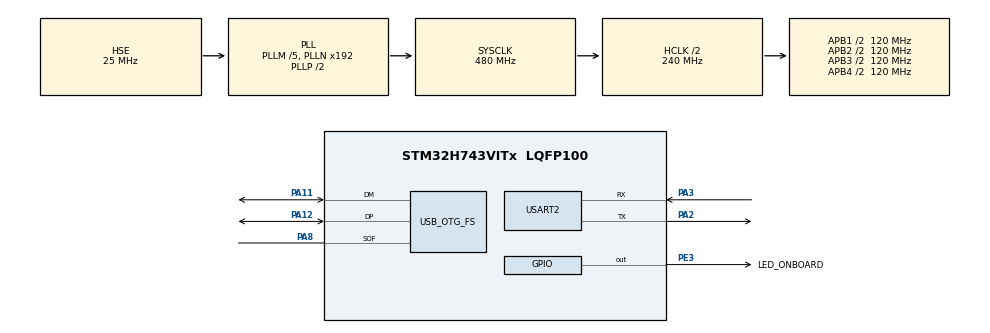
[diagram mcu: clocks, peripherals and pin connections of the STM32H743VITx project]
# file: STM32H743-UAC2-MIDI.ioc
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CORTEX_M7.CPU_DCache=Enabled
CORTEX_M7.CPU_ICache=Enabled
CORTEX_M7.default_mode_Activation=1
Mcu.Family=STM32H7
Mcu.Name=STM32H743VITx
Mcu.Package=LQFP100
NVIC.OTG_FS_IRQn=true\:0\:0\:false\:false\:true\:true\:true\:true
NVIC.PriorityGroup=NVIC_PRIORITYGROUP_4
NVIC.USART2_IRQn=true\:0\:0\:false\:false\:true\:true\:true\:true
PA11.Mode=Device_Only
PA11.Signal=USB_OTG_FS_DM
PA12.Mode=Device_Only
PA12.Signal=USB_OTG_FS_DP
PA13\ (JTMS/SWDIO).Mode=Trace_Asynchronous_SW
PA13\ (JTMS/SWDIO).Signal=DEBUG_JTMS-SWDIO
PA14\ (JTCK/SWCLK).Mode=Trace_Asynchronous_SW
PA14\ (JTCK/SWCLK).Signal=DEBUG_JTCK-SWCLK
PA2.Mode=Asynchronous
PA2.Signal=USART2_TX
PA3.Mode=Asynchronous
PA3.Signal=USART2_RX
PA8.Mode=Activate_SOF_FS
PA8.Signal=USB_OTG_FS_SOF
PB3\ (JTDO/TRACESWO).Mode=Trace_Asynchronous_SW
PB3\ (JTDO/TRACESWO).Signal=DEBUG_JTDO-SWO
PC14-OSC32_IN\ (OSC32_IN).Mode=LSE-External-Oscillator
PC14-OSC32_IN\ (OSC32_IN).Signal=RCC_OSC32_IN
PC15-OSC32_OUT\ (OSC32_OUT).Mode=LSE-External-Oscillator
PC15-OSC32_OUT\ (OSC32_OUT).Signal=RCC_OSC32_OUT
PE3.GPIO_Label=LED_ONBOARD
PE3.Signal=GPIO_Output
PH0-OSC_IN\ (PH0).Mode=HSE-External-Oscillator
PH0-OSC_IN\ (PH0).Signal=RCC_OSC_IN
PH1-OSC_OUT\ (PH1).Mode=HSE-External-Oscillator
PH1-OSC_OUT\ (PH1).Signal=RCC_OSC_OUT
ProjectManager.HeapSize=0x200
ProjectManager.StackSize=0x800
ProjectManager.TargetToolchain=STM32CubeIDE
RCC.ADCFreq_Value=50390625
RCC.APB1Freq_Value=120000000
RCC.APB2Freq_Value=120000000
RCC.APB3Freq_Value=120000000
RCC.APB4Freq_Value=120000000
RCC.CortexFreq_Value=480000000
RCC.D1PPRE=RCC_APB3_DIV2
RCC.D2PPRE1=RCC_APB1_DIV2
RCC.D2PPRE2=RCC_APB2_DIV2
RCC.D3PPRE=RCC_APB4_DIV2
RCC.DIVM1=5
RCC.DIVM3=25
RCC.DIVN1=192
RCC.DIVN3=192
RCC.DIVQ1=20
RCC.DIVQ3=4
RCC.HCLKFreq_Value=240000000
RCC.HPRE=RCC_HCLK_DIV2
RCC.PLL2FRACN=0
RCC.PLL3FRACN=0
RCC.PLLFRACN=0
RCC.SYSCLKFreq_VALUE=480000000
RCC.SYSCLKSource=RCC_SYSCLKSOURCE_PLLCLK
RCC.USBFreq_Value=48000000
USART2.VirtualMode-Asynchronous=VM_ASYNC
USB_OTG_FS.VirtualMode=Device_Only
VP_MEMORYMAP_VS_MEMORYMAP.Mode=CurAppReg
board=custom

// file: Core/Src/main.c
/* USER CODE BEGIN Header */
/**
  ******************************************************************************
  * @file           : main.c
  * @brief          : Main program body
  ******************************************************************************
  * @attention
  *
  * Copyright (c) 2026 STMicroelectronics.
  * All rights reserved.
  *
  * This software is licensed under terms that can be found in the LICENSE file
  * in the root directory of this software component.
  * If no LICENSE file comes with this software, it is provided AS-IS.
  *
  ******************************************************************************
  */
/* USER CODE END Header */
#include "main.h"
#include "usart.h"
#include "usb_otg.h"
#include "gpio.h"

/* USER CODE BEGIN Includes */
#include <stdint.h>
#include <stdio.h>
#include "tusb.h"
#include "midi.h"
#include "audio_cb.h"

/* USER CODE END Includes */

/* USER CODE BEGIN PD */
#define AUDIO_BUFFER_SIZE 	48 * CFG_TUD_AUDIO_FUNC_1_N_CHANNELS_TX//CFG_TUD_AUDIO_FUNC_1_SAMPLE_RATE / 1000 * CFG_TUD_AUDIO_FUNC_1_N_BYTES_PER_SAMPLE_TX * CFG_TUD_AUDIO_FUNC_1_N_CHANNELS_TX
/* USER CODE END PD */

/* USER CODE BEGIN PV */

/* Blink pattern
 * - 250 ms  : device not mounted
 * - 1000 ms : device mounted
 * - 2500 ms : device is suspended
 */
enum {
  BLINK_NOT_MOUNTED = 250,
  BLINK_MOUNTED = 1000,
  BLINK_SUSPENDED = 2500,
  BLINK_MIDI_CC = 50
};

static uint32_t blink_interval_ms = BLINK_NOT_MOUNTED;

uint8_t midi_rx_flag = 0;

MIDI_MsgUnion_typedef midi_rx_msg;

// Audio test data (the buffer should be located in a portion of a RAM
// that the USB device can access (check linker script).
__attribute__((section(".usb_ram")))
__attribute__((aligned(4)))
#if CFG_TUD_AUDIO_FUNC_1_N_BYTES_PER_SAMPLE_TX == 2
int16_t audio_buffer[AUDIO_BUFFER_SIZE];
#elif CFG_TUD_AUDIO_FUNC_1_N_BYTES_PER_SAMPLE_TX == 3
uint8_t audio_buffer[AUDIO_BUFFER_SIZE * CFG_TUD_AUDIO_FUNC_1_N_BYTES_PER_SAMPLE_TX];
#elif CFG_TUD_AUDIO_FUNC_1_N_BYTES_PER_SAMPLE_TX == 4
int32_t audio_buffer[AUDIO_BUFFER_SIZE];
#endif

volatile uint32_t system_ticks = 0;

#include <math.h>

#define FREQ        1000
#define AMPLITUDE   0.5

static float phase = 0.0f;
static float phase_inc = 2.0f * 3.1415926f * FREQ / CFG_TUD_AUDIO_FUNC_1_SAMPLE_RATE;
/* USER CODE END PV */

void SystemClock_Config(void);
static void MPU_Config(void);
/* USER CODE BEGIN PFP */
void MPU_Config_USB_D2_SRAM(void);
void led_blinking_task(void);
void audio_task(void);
/* USER CODE END PFP */

int main(void)
{

  /* MPU Configuration--------------------------------------------------------*/
  MPU_Config();

  /* Enable the CPU Cache */

  /* Enable I-Cache---------------------------------------------------------*/
  SCB_EnableICache();

  /* Enable D-Cache---------------------------------------------------------*/
  SCB_EnableDCache();

  /* MCU Configuration--------------------------------------------------------*/

  /* Reset of all peripherals, Initializes the Flash interface and the Systick. */
  HAL_Init();

  /* USER CODE BEGIN Init */
  MPU_Config_USB_D2_SRAM();
  //SCB_DisableDCache();
  //SCB_DisableICache();
  /* USER CODE END Init */

  /* Configure the system clock */
  SystemClock_Config();

  /* Initialize all configured peripherals */
  MX_GPIO_Init();
  MX_USB_OTG_FS_PCD_Init();
  MX_USART2_UART_Init();
  /* USER CODE BEGIN 2 */

  //Init Tiny USB device stack on configured roothub port:
  tusb_rhport_init_t dev_init = {
      .role = TUSB_ROLE_DEVICE,
      .speed = TUSB_SPEED_FULL};
  SCB_CleanInvalidateDCache();
  tusb_init(BOARD_TUD_RHPORT, &dev_init);

  // Init values for UAC2 example callbacks:
  audio_init();
  printf("Moreto STM32H743 TinyUSB Audio and MIDI example\r\n");
  /* USER CODE END 2 */

  /* Infinite loop */
  /* USER CODE BEGIN WHILE */
  while (1)
  {
	  tud_task();// tinyusb device task
	  audio_task();
	  led_blinking_task();

	  if (midi_rx_flag){ // MIDI message received
		  // Read the 4 byte packet and store it in the union array:
		  tud_midi_n_packet_read(0, midi_rx_msg.array);
		  printf("Midi message. CIN: %#04x Cable: %#04x Channel: %#04x Type: %#04x  "
				  "Data1: %#04x  Data2: %#04x\r\n", midi_rx_msg.fields.CIN, midi_rx_msg.fields.cable,
				  midi_rx_msg.fields.channel, midi_rx_msg.fields.type, midi_rx_msg.fields.data1,
				  midi_rx_msg.fields.data2);
		  if (midi_rx_msg.fields.type == CC){
			  if(midi_rx_msg.fields.data1 == MIDI_CC_TEST){
				  if (midi_rx_msg.fields.data2 > 63){
					  blink_interval_ms = BLINK_MIDI_CC;
				  }else{
					  blink_interval_ms = BLINK_MOUNTED;
				  }
			  } // if data1 = MIDI_CC_TEST
		  } // if type = CC
		  midi_rx_flag = 0;
	  }

    /* USER CODE END WHILE */

  }
}

void SystemClock_Config(void)
{
  RCC_OscInitTypeDef RCC_OscInitStruct = {0};
  RCC_ClkInitTypeDef RCC_ClkInitStruct = {0};

  /** Supply configuration update enable
  */
  HAL_PWREx_ConfigSupply(PWR_LDO_SUPPLY);

  /** Configure the main internal regulator output voltage
  */
  __HAL_PWR_VOLTAGESCALING_CONFIG(PWR_REGULATOR_VOLTAGE_SCALE0);

  while(!__HAL_PWR_GET_FLAG(PWR_FLAG_VOSRDY)) {}

  /** Initializes the RCC Oscillators according to the specified parameters
  * in the RCC_OscInitTypeDef structure.
  */
  RCC_OscInitStruct.OscillatorType = RCC_OSCILLATORTYPE_HSE;
  RCC_OscInitStruct.HSEState = RCC_HSE_ON;
  RCC_OscInitStruct.PLL.PLLState = RCC_PLL_ON;
  RCC_OscInitStruct.PLL.PLLSource = RCC_PLLSOURCE_HSE;
  RCC_OscInitStruct.PLL.PLLM = 5;
  RCC_OscInitStruct.PLL.PLLN = 192;
  RCC_OscInitStruct.PLL.PLLP = 2;
  RCC_OscInitStruct.PLL.PLLQ = 20;
  RCC_OscInitStruct.PLL.PLLR = 2;
  RCC_OscInitStruct.PLL.PLLRGE = RCC_PLL1VCIRANGE_2;
  RCC_OscInitStruct.PLL.PLLVCOSEL = RCC_PLL1VCOWIDE;
  RCC_OscInitStruct.PLL.PLLFRACN = 0;
  if (HAL_RCC_OscConfig(&RCC_OscInitStruct) != HAL_OK)
  {
    Error_Handler();
  }

  /** Initializes the CPU, AHB and APB buses clocks
  */
  RCC_ClkInitStruct.ClockType = RCC_CLOCKTYPE_HCLK|RCC_CLOCKTYPE_SYSCLK
                              |RCC_CLOCKTYPE_PCLK1|RCC_CLOCKTYPE_PCLK2
                              |RCC_CLOCKTYPE_D3PCLK1|RCC_CLOCKTYPE_D1PCLK1;
  RCC_ClkInitStruct.SYSCLKSource = RCC_SYSCLKSOURCE_PLLCLK;
  RCC_ClkInitStruct.SYSCLKDivider = RCC_SYSCLK_DIV1;
  RCC_ClkInitStruct.AHBCLKDivider = RCC_HCLK_DIV2;
  RCC_ClkInitStruct.APB3CLKDivider = RCC_APB3_DIV2;
  RCC_ClkInitStruct.APB1CLKDivider = RCC_APB1_DIV2;
  RCC_ClkInitStruct.APB2CLKDivider = RCC_APB2_DIV2;
  RCC_ClkInitStruct.APB4CLKDivider = RCC_APB4_DIV2;

  if (HAL_RCC_ClockConfig(&RCC_ClkInitStruct, FLASH_LATENCY_4) != HAL_OK)
  {
    Error_Handler();
  }
}

/* USER CODE BEGIN 4 */

int __io_putchar(int ch) {
    // Send character using ITM (SWO)
    // Port 0 is used by default.
    ITM_SendChar(ch);
    return ch;
}

int _write(int file, char *ptr, int len) {
    int DataIdx;
    for (DataIdx = 0; DataIdx < len; DataIdx++) {
        __io_putchar(*ptr++);
    }
    return len;
}

// Invoked when device is mounted
void tud_mount_cb(void) {
  blink_interval_ms = BLINK_MOUNTED;
}

// Invoked when device is unmounted
void tud_umount_cb(void) {
  blink_interval_ms = BLINK_NOT_MOUNTED;
}

// Invoked when usb bus is suspended
// remote_wakeup_en : if host allow us  to perform remote wakeup
// Within 7ms, device must draw an average of current less than 2.5 mA from bus
void tud_suspend_cb(bool remote_wakeup_en) {
  (void) remote_wakeup_en;
  blink_interval_ms = BLINK_SUSPENDED;
}

// Invoked when usb bus is resumed
void tud_resume_cb(void) {
  blink_interval_ms = tud_mounted() ? BLINK_MOUNTED : BLINK_NOT_MOUNTED;
}

// Fills the buffer every ms with a sinusoidal signal.
void audio_task(void)
{
  // The audio_streaming_flag is updated in audio_cb.h when the activates the
  // streaming interface.
  if (!audio_is_streaming())
	  // Interface not active, return.
      return;

  static uint32_t start_ms = 0;
  uint32_t curr_ms = tusb_time_millis_api();

  if (start_ms == curr_ms) {
    return;
  }
  start_ms = curr_ms;
  static int32_t s = 0;

  // Fill the buffer with a sine wave:
  for (size_t i = 0; i < AUDIO_BUFFER_SIZE/2; i++) {

#if CFG_TUD_AUDIO_FUNC_1_N_BYTES_PER_SAMPLE_TX == 2
	s = ((AMPLITUDE * sinf(phase))* 32767.0f);
	// Left:
	audio_buffer[2*i] = (int16_t)s;
	// Right:
	audio_buffer[2*i+1] = (int16_t)s;
#elif CFG_TUD_AUDIO_FUNC_1_N_BYTES_PER_SAMPLE_TX == 3
	// For 24bits in 4 bytes, the packing needs to be done manually.
	s = (int32_t)((AMPLITUDE * sinf(phase))* 8388607.0f);
    // LEFT
    audio_buffer[6*i + 0] = (uint8_t)(s & 0xFF);
    audio_buffer[6*i + 1] = (uint8_t)((s >> 8) & 0xFF);
    audio_buffer[6*i + 2] = (uint8_t)((s >> 16) & 0xFF);
    // RIGHT
    audio_buffer[6*i + 3] = (uint8_t)(s & 0xFF);
    audio_buffer[6*i + 4] = (uint8_t)((s >> 8) & 0xFF);
    audio_buffer[6*i + 5] = (uint8_t)((s >> 16) & 0xFF);
#elif CFG_TUD_AUDIO_FUNC_1_N_BYTES_PER_SAMPLE_TX == 4
    s = (int32_t)((AMPLITUDE * sinf(phase)) * 8388607.0f);
    s <<= 8; // The USB Host uses the 3 most significant bytes.
    // Left:
    audio_buffer[2*i] = s;
    // Right:
    audio_buffer[2*i+1] = s;
#endif
    phase += phase_inc;

    if (phase > 2.0f * 3.1415926f) {
      phase -= 2.0f * 3.1415926f;
    }
  } // for
  // Writes AUDIO_BUFFER_SIZE samples:
  tud_audio_write((uint8_t *) audio_buffer, sizeof(audio_buffer));// AUDIO_BUFFER_SIZE * CFG_TUD_AUDIO_FUNC_1_N_BYTES_PER_SAMPLE_TX);
}

/*
 * Function called when there is a MIDI packet to receive.
 *
 */
void tud_midi_rx_cb(uint8_t itf){
	midi_rx_flag = 1;
}

//--------------------------------------------------------------------+
// BLINKING TASK
//--------------------------------------------------------------------+
void led_blinking_task(void) {
  static uint32_t start_ms = 0;
  static bool led_state = false;

  // Blink every interval ms
  if (tusb_time_millis_api() - start_ms < blink_interval_ms) {
    return; // not enough time
  }
  start_ms += blink_interval_ms;

  HAL_GPIO_WritePin(LED_ONBOARD_GPIO_Port, LED_ONBOARD_Pin, led_state);
  //board_led_write(led_state);
  led_state = 1 - led_state;// toggle
}

#if 0 // Not used for now, but may be useful.
/* Timer interrupt callback */
void HAL_TIM_PeriodElapsedCallback(TIM_HandleTypeDef *htim){
	if (htim->Instance == TIM11){
		flag_tim11 = 1;
	} // if htim->Instance == TIM11
}
#endif
#if 0
/**
  * @brief Rx Transfer completed callbacks
  * @param huart: uart handle
  * @retval None
  */
void HAL_UART_RxCpltCallback(UART_HandleTypeDef *huart)
{
	if(huart->Instance==USART2)
	{
		usart_received_done_flag = 1;
	}
    //HAL_UART_Transmit(&huart1,  (uint8_t *)aRxBuffer, RECEIVED_BYTES,0xFFFF);
}
#endif

void HAL_IncTick(void)
{
  uwTick += uwTickFreq;
  system_ticks++;
}

uint32_t tusb_time_millis_api(void) {
  return system_ticks;
}

/*
 *  Configure MPU for the region used by USB, preventing it to
 *  be cached.
 * */
void MPU_Config_USB_D2_SRAM(void)
{
	  MPU_Region_InitTypeDef MPU_InitStruct = {0};

	  HAL_MPU_Disable();

	  // ============================
	  // REGION - USB / DMA SRAM
	  // ============================
	  MPU_InitStruct.Number = MPU_REGION_NUMBER1;
	  MPU_InitStruct.BaseAddress = 0x30000000;
	  MPU_InitStruct.Size = MPU_REGION_SIZE_256KB;

	  MPU_InitStruct.SubRegionDisable = 0x00;
	  MPU_InitStruct.TypeExtField = MPU_TEX_LEVEL1;
	  MPU_InitStruct.AccessPermission = MPU_REGION_FULL_ACCESS;
	  MPU_InitStruct.DisableExec = MPU_INSTRUCTION_ACCESS_DISABLE;

	  MPU_InitStruct.IsShareable = MPU_ACCESS_SHAREABLE;
	  MPU_InitStruct.IsCacheable = MPU_ACCESS_NOT_CACHEABLE;
	  MPU_InitStruct.IsBufferable = MPU_ACCESS_BUFFERABLE;

	  MPU_InitStruct.Enable = MPU_REGION_ENABLE;

	  HAL_MPU_ConfigRegion(&MPU_InitStruct);

	  HAL_MPU_Enable(MPU_PRIVILEGED_DEFAULT);
}
/* USER CODE END 4 */

 /* MPU Configuration */

void MPU_Config(void)
{
  MPU_Region_InitTypeDef MPU_InitStruct = {0};

  /* Disables the MPU */
  HAL_MPU_Disable();

  /** Initializes and configures the Region and the memory to be protected
  */
  MPU_InitStruct.Enable = MPU_REGION_ENABLE;
  MPU_InitStruct.Number = MPU_REGION_NUMBER0;
  MPU_InitStruct.BaseAddress = 0x0;
  MPU_InitStruct.Size = MPU_REGION_SIZE_4GB;
  MPU_InitStruct.SubRegionDisable = 0x87;
  MPU_InitStruct.TypeExtField = MPU_TEX_LEVEL0;
  MPU_InitStruct.AccessPermission = MPU_REGION_NO_ACCESS;
  MPU_InitStruct.DisableExec = MPU_INSTRUCTION_ACCESS_DISABLE;
  MPU_InitStruct.IsShareable = MPU_ACCESS_SHAREABLE;
  MPU_InitStruct.IsCacheable = MPU_ACCESS_NOT_CACHEABLE;
  MPU_InitStruct.IsBufferable = MPU_ACCESS_NOT_BUFFERABLE;

  HAL_MPU_ConfigRegion(&MPU_InitStruct);
  /* Enables the MPU */
  HAL_MPU_Enable(MPU_PRIVILEGED_DEFAULT);

}

void Error_Handler(void)
{
  __disable_irq();
  while (1)
  {
  }
}
